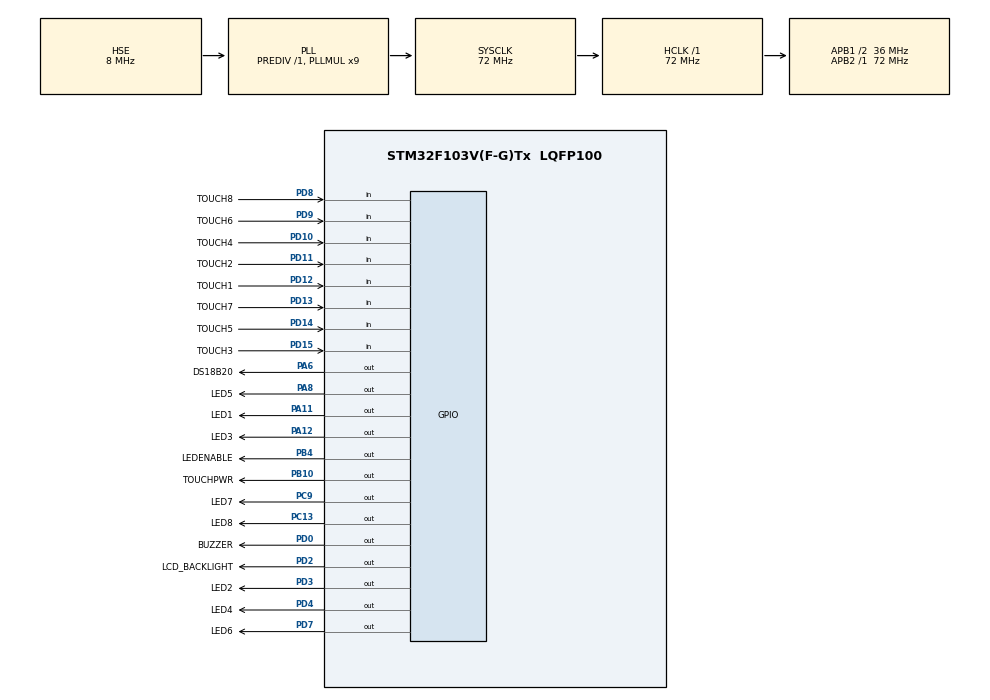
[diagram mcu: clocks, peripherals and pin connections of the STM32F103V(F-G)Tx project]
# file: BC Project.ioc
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Mcu.Family=STM32F1
Mcu.Name=STM32F103V(F-G)Tx
Mcu.Package=LQFP100
NVIC.PriorityGroup=NVIC_PRIORITYGROUP_4
NVIC.TIM2_IRQn=true\:0\:0\:false\:false\:true\:true\:true\:true
OSC_IN.Mode=HSE-External-Oscillator
OSC_IN.Signal=RCC_OSC_IN
OSC_OUT.Mode=HSE-External-Oscillator
OSC_OUT.Signal=RCC_OSC_OUT
PA11.GPIO_Label=LED1
PA11.GPIO_Speed=GPIO_SPEED_FREQ_HIGH
PA11.Signal=GPIO_Output
PA12.GPIO_Label=LED3
PA12.Signal=GPIO_Output
PA13.Mode=Serial_Wire
PA13.Signal=SYS_JTMS-SWDIO
PA14.Mode=Serial_Wire
PA14.Signal=SYS_JTCK-SWCLK
PA6.GPIO_Label=DS18B20
PA6.GPIO_ModeDefaultOutputPP=GPIO_MODE_OUTPUT_PP
PA6.GPIO_PuPd=GPIO_NOPULL
PA6.GPIO_Speed=GPIO_SPEED_FREQ_LOW
PA6.Signal=GPIO_Output
PA8.GPIO_Label=LED5
PA8.Signal=GPIO_Output
PB10.GPIO_Label=TOUCHPWR
PB10.Signal=GPIO_Output
PB4.GPIO_Label=LEDENABLE
PB4.GPIO_Speed=GPIO_SPEED_FREQ_HIGH
PB4.Signal=GPIO_Output
PC13-TAMPER-RTC.GPIO_Label=LED8
PC13-TAMPER-RTC.Signal=GPIO_Output
PC9.GPIO_Label=LED7
PC9.Signal=GPIO_Output
PD0.GPIO_Label=BUZZER
PD0.Signal=GPIO_Output
PD10.GPIO_Label=TOUCH4
PD10.Signal=GPIO_Input
PD11.GPIO_Label=TOUCH2
PD11.Signal=GPIO_Input
PD12.GPIO_Label=TOUCH1
PD12.Signal=GPIO_Input
PD13.GPIO_Label=TOUCH7
PD13.Signal=GPIO_Input
PD14.GPIO_Label=TOUCH5
PD14.Signal=GPIO_Input
PD15.GPIO_Label=TOUCH3
PD15.Signal=GPIO_Input
PD2.GPIO_Label=LCD_BACKLIGHT
PD2.GPIO_Speed=GPIO_SPEED_FREQ_HIGH
PD2.Signal=GPIO_Output
PD3.GPIO_Label=LED2
PD3.Signal=GPIO_Output
PD4.GPIO_Label=LED4
PD4.Signal=GPIO_Output
PD7.GPIO_Label=LED6
PD7.Signal=GPIO_Output
PD8.GPIO_Label=TOUCH8
PD8.Signal=GPIO_Input
PD9.GPIO_Label=TOUCH6
PD9.Signal=GPIO_Input
ProjectManager.HeapSize=0x200
ProjectManager.StackSize=0x400
ProjectManager.TargetToolchain=STM32CubeIDE
RCC.AHBFreq_Value=72000000
RCC.APB1CLKDivider=RCC_HCLK_DIV2
RCC.APB1Freq_Value=36000000
RCC.APB1TimFreq_Value=72000000
RCC.APB2Freq_Value=72000000
RCC.APB2TimFreq_Value=72000000
RCC.HCLKFreq_Value=72000000
RCC.PLLMUL=RCC_PLL_MUL9
RCC.PLLSourceVirtual=RCC_PLLSOURCE_HSE
RCC.SYSCLKFreq_VALUE=72000000
RCC.SYSCLKSource=RCC_SYSCLKSOURCE_PLLCLK
RCC.USBFreq_Value=72000000
TIM2.AutoReloadPreload=TIM_AUTORELOAD_PRELOAD_ENABLE
TIM2.Period=1000-1
TIM2.Prescaler=36000-1
TIM3.Period=65534
TIM3.Prescaler=36-1
VP_TIM2_VS_ClockSourceINT.Mode=Internal
VP_TIM3_VS_ClockSourceINT.Mode=Internal
board=custom

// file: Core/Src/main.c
/* USER CODE BEGIN Header */
/**
 ******************************************************************************
 * @file           : main.c
 * @brief          : Main program body
 ******************************************************************************
 * @attention
 *
 * Copyright (c) 2023 STMicroelectronics.
 * All rights reserved.
 *
 * This software is licensed under terms that can be found in the LICENSE file
 * in the root directory of this software component.
 * If no LICENSE file comes with this software, it is provided AS-IS.
 *
 ******************************************************************************
 */
/* USER CODE END Header */
#include "main.h"

/* USER CODE BEGIN PTD */
typedef enum states {
	IN = 0, OUT, SLEEP
} states;

typedef enum modes {
	COOLING = 0, HEATING, SYSTEM_OFF
} modes;

/* USER CODE END PTD */

/* USER CODE BEGIN PD */
#define INITIAL_SLEEP_SET_POINT   21;
#define INITIAL_IN_SET_POINT      24;
#define GET_BACKGROUND_COLOR(cursor, index)   cursor == index ? Black : White
#define GET_TEXT_COLOR(cursor, index)   cursor == index ? White : Black
#define GET_STATE_STRING(state)    state == IN ? ("IN   ") : (state == OUT ? ("OUT  ") : ("SLEEP"))
/* USER CODE END PD */

/* USER CODE BEGIN PM */
extern const unsigned short MainBG[0x12C00 + 2];
extern const unsigned short arrowup[900];
extern const unsigned short arrowdown[900];
/* USER CODE END PM */

 TIM_HandleTypeDef htim2;
TIM_HandleTypeDef htim3;

/* USER CODE BEGIN PV */
modes mode = COOLING;
char *temp_modes[3] = { "COOLING", "HEATING", "OFF" };
char *week_days[7] = { "S`stqc`x", "Stmc`x", "Mnmc`x", "Ttdrc`x", "Wdcmdrc`x",
		"Tgtqrc`x", "Fqhc`x" };
uint8_t days_temp[7][9];
states days_state[7][9];
uint8_t current_temperature = 18;

uint8_t real_hour = 7;
uint8_t real_weekday = 0;

uint8_t current_day_cursor = 1;
states current_hour_state = 0;
uint8_t current_week_day = 0;
uint8_t state_editor_mode = 0;
uint8_t current_setpoint = 0;

uint8_t is_button8_pressed = 0;
uint8_t is_button7_pressed = 0;
uint8_t is_button5_pressed = 0;
uint8_t is_button4_pressed = 0;
uint8_t is_button3_pressed = 0;
uint8_t is_button2_pressed = 0;
uint8_t is_button1_pressed = 0;

uint8_t in_comfort_temp;
uint8_t sleep_comfort_temp;
uint8_t temp_initialized = 0;
int counter = 0;
uint8_t Temp_byte1, Temp_byte2;
/* USER CODE END PV */

void SystemClock_Config(void);
static void MX_GPIO_Init(void);
static void MX_TIM2_Init(void);
static void MX_TIM3_Init(void);
/* USER CODE BEGIN PFP */
void ThermoAdjucment(void);
void SyncStateAndSetPoints(void);
void ReadKey(void);
void LcdDailySchedule(uint8_t day);
void ShowTemperature(uint8_t temperature);
void LcdPageOne(void);
uint16_t slen(const char*);
void add_txt(char*, char*);
char* my_utoa(unsigned, char*);
char* my_ftoa(float, char*);
uint8_t GetHourIndex(uint8_t hour);
void LcdGiveFeedback(void);
void ShowMode(void);
/* USER CODE END PFP */

/* USER CODE BEGIN 0 */

/*Temp Begin*/
void delayus(uint32_t us) {
//	volatile uint32_t counter = 8 * us;
//	while (counter--)
//		;
	uint32_t counterval = 0;
	__HAL_TIM_SET_COUNTER(&htim3, 0);
	while ((__HAL_TIM_GET_COUNTER(&htim3))<2*us);
}
void LH_signal(uint32_t L_time, uint32_t H_time) {
	HAL_GPIO_WritePin(DS18B20_GPIO_Port, DS18B20_Pin, GPIO_PIN_RESET);
	delayus(L_time); //From pullup_HIGH to GND_LOW:---___
	HAL_GPIO_WritePin(DS18B20_GPIO_Port, DS18B20_Pin, GPIO_PIN_SET);
	delayus(H_time); //From GND_LOW to pullup_HIGH:___---
}

void write_bit(uint8_t bit) {
	if (bit == 0)
		LH_signal(60, 5);
	else
		LH_signal(5, 60);
}

void write_byte(uint8_t data) {
	for (uint8_t i = 0; i < 8; i++)
		write_bit(data >> i & 1);
}

static void A9_as_INPUT(void) {
	GPIO_InitTypeDef GPIO_InitStruct = { 0 };
	HAL_GPIO_WritePin(DS18B20_GPIO_Port, DS18B20_Pin, GPIO_PIN_SET);
	GPIO_InitStruct.Pin = DS18B20_Pin;
	GPIO_InitStruct.Mode = GPIO_MODE_INPUT;
	GPIO_InitStruct.Pull = GPIO_NOPULL;
	HAL_GPIO_Init(GPIOA, &GPIO_InitStruct);
}

static void A9_as_OUTPUT(void) {
	GPIO_InitTypeDef GPIO_InitStruct = { 0 };
	HAL_GPIO_WritePin(DS18B20_GPIO_Port, DS18B20_Pin, GPIO_PIN_SET);
	GPIO_InitStruct.Pin = DS18B20_Pin;
	GPIO_InitStruct.Mode = GPIO_MODE_OUTPUT_OD;
	GPIO_InitStruct.Pull = GPIO_NOPULL;
	GPIO_InitStruct.Speed = GPIO_SPEED_FREQ_HIGH;
	HAL_GPIO_Init(DS18B20_GPIO_Port, &GPIO_InitStruct);
}

uint8_t read_bit(void) {
	uint8_t bit = 0;
	LH_signal(1, 10);
	A9_as_INPUT();
	bit = (HAL_GPIO_ReadPin(DS18B20_GPIO_Port, DS18B20_Pin) ? 1 : 0);
	delayus(40);
	A9_as_OUTPUT();
	return bit;
}

uint8_t read_byte(void) {
	uint8_t data = 0;
	for (uint8_t i = 0; i < 8; i++)
		data += read_bit() << i;
	return data;
}

void A9_wait_for_1(uint32_t time) {
	A9_as_INPUT();
	delayus(time);
	while (HAL_GPIO_ReadPin(DS18B20_GPIO_Port, DS18B20_Pin) == 0)
		;
	A9_as_OUTPUT();
}

void reset(void) {
	LH_signal(500, 500);
}
uint8_t get_presence(void) {
	uint8_t flag = 1;
	LH_signal(500, 0);
	A9_as_INPUT();
	delayus(60); //look for GND_LOW = DS18B20 exists
	flag = (HAL_GPIO_ReadPin(DS18B20_GPIO_Port, DS18B20_Pin) ? 0 : 1); //not ?1:0
	A9_as_OUTPUT();
	delayus(400);
	if (flag)
		return 1;
	else
		return 0;
}

float get_temperature(void) {
	uint8_t pad_data[] = { 0, 0, 0, 0, 0, 0, 0, 0, 0 }; //9 Byte
	reset();
	write_byte(0xCC); //Skip ROM [CCh]
	write_byte(0x44); //Convert Temperature [44h]
	A9_wait_for_1(20);
	reset();
	write_byte(0xCC); //Skip ROM [CCh]
	write_byte(0xBE); //Read Scratchpad [BEh]
	for (uint8_t i = 0; i < 9; i++)
		pad_data[i] = read_byte(); //factor out 1/16 and remember 1/16 != 1/16.0
	uint16_t x = (pad_data[1] << 8) + pad_data[0];
	if ((pad_data[1] >> 7) == 1) {
		x -= 1;
		x = ~x;
		return x / -16.0;
	} else
		return x / 16.0;
}

void send_ID(void) {
	uint8_t id_data[] = { 40, 25, 0, 0, 120, 2, 0, 136 }; //8 Byte ID
	reset();
	write_byte(0x55); //Match ROM [55h]
	for (uint8_t i = 0; i < 8; i++)
		write_byte(id_data[i]); //id_data[0] = 40 = 0x28
}

float get_temperature_with_ID(void) {
	uint8_t pad_data[] = { 0, 0, 0, 0, 0, 0, 0, 0, 0 }; //9 Byte
	reset();
	send_ID();
	write_byte(0x44); //Convert Temperature [44h]
	A9_wait_for_1(20);
	reset();
	send_ID();
	write_byte(0xBE); //Read Scratchpad [BEh]
	for (uint8_t i = 0; i < 9; i++)
		pad_data[i] = read_byte(); //factor out 1/16 and remember 1/16 != 1/16.0
	return ((pad_data[1] << 8) + pad_data[0]) / 16.0; //DS18B20.pdf: val of bit0: 2^(-4) = 1/16
}

uint16_t slen(const char *s) {
	uint16_t i;
	for (i = 0; s[i] != 0; i++)
		;
	return i; //s[0] not 0 then i=1;
}
void add_txt(char *out, char *in) {
	while (*out != 0)
		out++;
	while (*in != 0) {
		*out++ = *in++;
	}
	*out = 0;
}
char* my_utoa(unsigned val, char *str) {
	//static char buffer[10];
	char *cp = str;
	unsigned v;
	char c;
	v = val;
	do {
		v /= 10;
		cp++;
	} while (v != 0);
	*cp-- = 0;
	do {
		c = val % 10;
		val /= 10;
		c += '0';
		*cp-- = c;
	} while (val != 0);
	return cp;
}
char* my_ftoa(float val, char *str) {
	char *cp;
	cp = str;
	int v, v0, rest, rest0;
	char c;
	if (val < 0) { // cp=0
		val = -val; //cp[0 ][1 ][2][3][4][5][6][7][8][9]
		*cp++ = '-'; // [0: -] cp=1
	}
	v0 = (int) val;
	v = v0;
	//rest0=(int)((val-(int)val)*100000000); rest = rest0;
	rest0 = (int) ((val - (int) val) * 10000);
	rest = rest0;
	do {
		v /= 10;
		cp++;
	} while (v != 0);
	do {
		rest /= 10;
		cp++;
	} while (rest != 0);
	cp++; //wegen ','
	*cp-- = 0;
	do {
		c = rest0 % 10;
		rest0 /= 10;
		c += '0';
		*cp-- = c;
	} while (rest0 != 0);
	*cp-- = ',';
	do {
		c = v0 % 10;
		v0 /= 10;
		c += '0';
		*cp-- = c;
	} while (v0 != 0);
	return cp;
}

void HAL_TIM_PeriodElapsedCallback(TIM_HandleTypeDef *htim) {
	if (htim->Instance == TIM2) {
		counter++;
		float f = get_temperature();
		current_temperature = (uint16_t) f;
		if (counter > 10) {
			if (is_button2_pressed == 0 && is_button4_pressed == 0) {
				ShowMode();
				ShowTemperature(current_temperature);
			}
			counter = 0;
		}
	}
}

/* USER CODE END 0 */

int main(void)
{
  /* USER CODE BEGIN 1 */
	in_comfort_temp = INITIAL_IN_SET_POINT
	;
	sleep_comfort_temp = INITIAL_SLEEP_SET_POINT
	;

	for (uint8_t day = 0; day < 7; day++) {
		days_state[day][0] = SLEEP;
		days_state[day][1] = days_state[day][6] = days_state[day][7] =
				days_state[day][8] = IN;
		days_state[day][2] = days_state[day][3] = days_state[day][4] =
				days_state[day][5] = OUT;
	}

	SyncStateAndSetPoints();
  /* USER CODE END 1 */

  /* MCU Configuration--------------------------------------------------------*/

  /* Reset of all peripherals, Initializes the Flash interface and the Systick. */
  HAL_Init();

  /* Configure the system clock */
  SystemClock_Config();

  /* Initialize all configured peripherals */
  MX_GPIO_Init();
  MX_TIM2_Init();
  MX_TIM3_Init();
  /* USER CODE BEGIN 2 */
	if (HAL_TIM_Base_Start(&htim3) == HAL_ERROR) {
		while(1);
	}
	HAL_TIM_Base_Start_IT(&htim2);
  /* USER CODE END 2 */

  /* Infinite loop */
  /* USER CODE BEGIN WHILE */
//  Draw_BMP_Fast(0, 0, MainBG);
	HAL_GPIO_WritePin(LCD_BACKLIGHT_GPIO_Port, LCD_BACKLIGHT_Pin, 1);

	LCD_Initializtion();
	LCD_Clear(Black);
	char str[50];
	sprintf(str, "%d", 65464);
	ThermoAdjucment();
	LcdPageOne();

	while (1) {
    /* USER CODE END WHILE */

    /* USER CODE BEGIN 3 */
		ThermoAdjucment();
		ReadKey();
		if (is_button8_pressed == 1) {
			current_week_day = (current_week_day + 1) % 7;
			LCD_Clear(White);
			is_button8_pressed = 0;
		}

		if (is_button2_pressed == 1) {
			LcdDailySchedule(current_week_day);
			is_button4_pressed = 0;
		}

		if (is_button4_pressed == 1) {
			LcdGiveFeedback();
			is_button2_pressed = 0;
		}

		if (is_button7_pressed == 1) {
			is_button2_pressed = 0;
			is_button7_pressed = 0;
			is_button4_pressed = 0;
			LcdPageOne();
		}
	}
  /* USER CODE END 3 */
}

void SystemClock_Config(void)
{
  RCC_OscInitTypeDef RCC_OscInitStruct = {0};
  RCC_ClkInitTypeDef RCC_ClkInitStruct = {0};

  /** Initializes the RCC Oscillators according to the specified parameters
  * in the RCC_OscInitTypeDef structure.
  */
  RCC_OscInitStruct.OscillatorType = RCC_OSCILLATORTYPE_HSE;
  RCC_OscInitStruct.HSEState = RCC_HSE_ON;
  RCC_OscInitStruct.HSEPredivValue = RCC_HSE_PREDIV_DIV1;
  RCC_OscInitStruct.HSIState = RCC_HSI_ON;
  RCC_OscInitStruct.PLL.PLLState = RCC_PLL_ON;
  RCC_OscInitStruct.PLL.PLLSource = RCC_PLLSOURCE_HSE;
  RCC_OscInitStruct.PLL.PLLMUL = RCC_PLL_MUL9;
  if (HAL_RCC_OscConfig(&RCC_OscInitStruct) != HAL_OK)
  {
    Error_Handler();
  }

  /** Initializes the CPU, AHB and APB buses clocks
  */
  RCC_ClkInitStruct.ClockType = RCC_CLOCKTYPE_HCLK|RCC_CLOCKTYPE_SYSCLK
                              |RCC_CLOCKTYPE_PCLK1|RCC_CLOCKTYPE_PCLK2;
  RCC_ClkInitStruct.SYSCLKSource = RCC_SYSCLKSOURCE_PLLCLK;
  RCC_ClkInitStruct.AHBCLKDivider = RCC_SYSCLK_DIV1;
  RCC_ClkInitStruct.APB1CLKDivider = RCC_HCLK_DIV2;
  RCC_ClkInitStruct.APB2CLKDivider = RCC_HCLK_DIV1;

  if (HAL_RCC_ClockConfig(&RCC_ClkInitStruct, FLASH_LATENCY_2) != HAL_OK)
  {
    Error_Handler();
  }
}

static void MX_TIM2_Init(void)
{

  TIM_ClockConfigTypeDef sClockSourceConfig = {0};
  TIM_MasterConfigTypeDef sMasterConfig = {0};

  htim2.Instance = TIM2;
  htim2.Init.Prescaler = 36000-1;
  htim2.Init.CounterMode = TIM_COUNTERMODE_UP;
  htim2.Init.Period = 1000-1;
  htim2.Init.ClockDivision = TIM_CLOCKDIVISION_DIV1;
  htim2.Init.AutoReloadPreload = TIM_AUTORELOAD_PRELOAD_ENABLE;
  if (HAL_TIM_Base_Init(&htim2) != HAL_OK)
  {
    Error_Handler();
  }
  sClockSourceConfig.ClockSource = TIM_CLOCKSOURCE_INTERNAL;
  if (HAL_TIM_ConfigClockSource(&htim2, &sClockSourceConfig) != HAL_OK)
  {
    Error_Handler();
  }
  sMasterConfig.MasterOutputTrigger = TIM_TRGO_RESET;
  sMasterConfig.MasterSlaveMode = TIM_MASTERSLAVEMODE_DISABLE;
  if (HAL_TIMEx_MasterConfigSynchronization(&htim2, &sMasterConfig) != HAL_OK)
  {
    Error_Handler();
  }

}

static void MX_TIM3_Init(void)
{

  TIM_ClockConfigTypeDef sClockSourceConfig = {0};
  TIM_MasterConfigTypeDef sMasterConfig = {0};

  htim3.Instance = TIM3;
  htim3.Init.Prescaler = 36-1;
  htim3.Init.CounterMode = TIM_COUNTERMODE_UP;
  htim3.Init.Period = 65534;
  htim3.Init.ClockDivision = TIM_CLOCKDIVISION_DIV1;
  htim3.Init.AutoReloadPreload = TIM_AUTORELOAD_PRELOAD_DISABLE;
  if (HAL_TIM_Base_Init(&htim3) != HAL_OK)
  {
    Error_Handler();
  }
  sClockSourceConfig.ClockSource = TIM_CLOCKSOURCE_INTERNAL;
  if (HAL_TIM_ConfigClockSource(&htim3, &sClockSourceConfig) != HAL_OK)
  {
    Error_Handler();
  }
  sMasterConfig.MasterOutputTrigger = TIM_TRGO_RESET;
  sMasterConfig.MasterSlaveMode = TIM_MASTERSLAVEMODE_DISABLE;
  if (HAL_TIMEx_MasterConfigSynchronization(&htim3, &sMasterConfig) != HAL_OK)
  {
    Error_Handler();
  }

}

static void MX_GPIO_Init(void)
{
  GPIO_InitTypeDef GPIO_InitStruct = {0};

  /* GPIO Ports Clock Enable */
  __HAL_RCC_GPIOC_CLK_ENABLE();
  __HAL_RCC_GPIOA_CLK_ENABLE();
  __HAL_RCC_GPIOB_CLK_ENABLE();
  __HAL_RCC_GPIOD_CLK_ENABLE();

  /*Configure GPIO pin Output Level */
  HAL_GPIO_WritePin(GPIOC, LED8_Pin|LED7_Pin, GPIO_PIN_RESET);

  /*Configure GPIO pin Output Level */
  HAL_GPIO_WritePin(GPIOA, DS18B20_Pin|LED5_Pin|LED1_Pin|LED3_Pin, GPIO_PIN_RESET);

  /*Configure GPIO pin Output Level */
  HAL_GPIO_WritePin(GPIOB, TOUCHPWR_Pin|LEDENABLE_Pin, GPIO_PIN_RESET);

  /*Configure GPIO pin Output Level */
  HAL_GPIO_WritePin(GPIOD, BUZZER_Pin|LCD_BACKLIGHT_Pin|LED2_Pin|LED4_Pin
                          |LED6_Pin, GPIO_PIN_RESET);

  /*Configure GPIO pins : LED8_Pin LED7_Pin */
  GPIO_InitStruct.Pin = LED8_Pin|LED7_Pin;
  GPIO_InitStruct.Mode = GPIO_MODE_OUTPUT_PP;
  GPIO_InitStruct.Pull = GPIO_NOPULL;
  GPIO_InitStruct.Speed = GPIO_SPEED_FREQ_LOW;
  HAL_GPIO_Init(GPIOC, &GPIO_InitStruct);

  /*Configure GPIO pins : DS18B20_Pin LED5_Pin LED3_Pin */
  GPIO_InitStruct.Pin = DS18B20_Pin|LED5_Pin|LED3_Pin;
  GPIO_InitStruct.Mode = GPIO_MODE_OUTPUT_PP;
  GPIO_InitStruct.Pull = GPIO_NOPULL;
  GPIO_InitStruct.Speed = GPIO_SPEED_FREQ_LOW;
  HAL_GPIO_Init(GPIOA, &GPIO_InitStruct);

  /*Configure GPIO pin : TOUCHPWR_Pin */
  GPIO_InitStruct.Pin = TOUCHPWR_Pin;
  GPIO_InitStruct.Mode = GPIO_MODE_OUTPUT_PP;
  GPIO_InitStruct.Pull = GPIO_NOPULL;
  GPIO_InitStruct.Speed = GPIO_SPEED_FREQ_LOW;
  HAL_GPIO_Init(TOUCHPWR_GPIO_Port, &GPIO_InitStruct);

  /*Configure GPIO pins : TOUCH8_Pin TOUCH6_Pin TOUCH4_Pin TOUCH2_Pin
                           TOUCH1_Pin TOUCH7_Pin TOUCH5_Pin TOUCH3_Pin */
  GPIO_InitStruct.Pin = TOUCH8_Pin|TOUCH6_Pin|TOUCH4_Pin|TOUCH2_Pin
                          |TOUCH1_Pin|TOUCH7_Pin|TOUCH5_Pin|TOUCH3_Pin;
  GPIO_InitStruct.Mode = GPIO_MODE_INPUT;
  GPIO_InitStruct.Pull = GPIO_NOPULL;
  HAL_GPIO_Init(GPIOD, &GPIO_InitStruct);

  /*Configure GPIO pin : LED1_Pin */
  GPIO_InitStruct.Pin = LED1_Pin;
  GPIO_InitStruct.Mode = GPIO_MODE_OUTPUT_PP;
  GPIO_InitStruct.Pull = GPIO_NOPULL;
  GPIO_InitStruct.Speed = GPIO_SPEED_FREQ_HIGH;
  HAL_GPIO_Init(LED1_GPIO_Port, &GPIO_InitStruct);

  /*Configure GPIO pins : BUZZER_Pin LED2_Pin LED4_Pin LED6_Pin */
  GPIO_InitStruct.Pin = BUZZER_Pin|LED2_Pin|LED4_Pin|LED6_Pin;
  GPIO_InitStruct.Mode = GPIO_MODE_OUTPUT_PP;
  GPIO_InitStruct.Pull = GPIO_NOPULL;
  GPIO_InitStruct.Speed = GPIO_SPEED_FREQ_LOW;
  HAL_GPIO_Init(GPIOD, &GPIO_InitStruct);

  /*Configure GPIO pin : LCD_BACKLIGHT_Pin */
  GPIO_InitStruct.Pin = LCD_BACKLIGHT_Pin;
  GPIO_InitStruct.Mode = GPIO_MODE_OUTPUT_PP;
  GPIO_InitStruct.Pull = GPIO_NOPULL;
  GPIO_InitStruct.Speed = GPIO_SPEED_FREQ_HIGH;
  HAL_GPIO_Init(LCD_BACKLIGHT_GPIO_Port, &GPIO_InitStruct);

  /*Configure GPIO pin : LEDENABLE_Pin */
  GPIO_InitStruct.Pin = LEDENABLE_Pin;
  GPIO_InitStruct.Mode = GPIO_MODE_OUTPUT_PP;
  GPIO_InitStruct.Pull = GPIO_NOPULL;
  GPIO_InitStruct.Speed = GPIO_SPEED_FREQ_HIGH;
  HAL_GPIO_Init(LEDENABLE_GPIO_Port, &GPIO_InitStruct);

}

/* USER CODE BEGIN 4 */

void SetTemperatureBasedOnInput(uint8_t ideal_temperature) {
	if (current_temperature > ideal_temperature) {
		mode = COOLING;
	} else if (current_temperature < ideal_temperature) {
		mode = HEATING;
	}
}

uint8_t GetHourIndex(uint8_t hour) {
	uint8_t hour_index = 0;
	if (hour >= 6 && hour < 8)
		hour_index = 1;
	else if (hour >= 8 && hour < 10)
		hour_index = 2;
	else if (hour >= 10 && hour < 12)
		hour_index = 3;
	else if (hour >= 12 && hour < 14)
		hour_index = 4;
	else if (hour >= 14 && hour < 16)
		hour_index = 5;
	else if (hour >= 16 && hour < 18)
		hour_index = 6;
	else if (hour >= 18 && hour < 20)
		hour_index = 7;
	else if (hour >= 20 && hour < 22)
		hour_index = 8;
	else
		hour_index = 0;

	return hour_index;
}

void ThermoAdjucment(void) {
	uint8_t hour_index = GetHourIndex(real_hour);
	if (days_state[real_weekday][hour_index] == OUT) {
		mode = SYSTEM_OFF;
	} else if (days_state[real_weekday][hour_index] == IN) {
		SetTemperatureBasedOnInput(in_comfort_temp);
	} else {
		SetTemperatureBasedOnInput(sleep_comfort_temp);
	}
}

void SyncStateAndSetPoints(void) {
	for (uint8_t day = 0; day < 7; day++) {
		for (uint8_t hour = 0; hour < 9; hour++) {
			switch (days_state[day][hour]) {
			case IN:
				days_temp[day][hour] = in_comfort_temp;
				break;
			case SLEEP:
				days_temp[day][hour] = sleep_comfort_temp;
				break;
			case OUT:
				days_temp[day][hour] = 0;
				break;
			}
		}
	}
}

void ReadKey(void) {
	/********Read Key1********/
	if (HAL_GPIO_ReadPin(TOUCH1_GPIO_Port, TOUCH1_Pin) == 0) {
		HAL_Delay(50);
		if (HAL_GPIO_ReadPin(TOUCH1_GPIO_Port, TOUCH1_Pin) == 0) {
			is_button1_pressed = 1;
		}
	}
	/********Read Key2********/
	if (HAL_GPIO_ReadPin(TOUCH2_GPIO_Port, TOUCH2_Pin) == 0) {
		HAL_Delay(50);
		if (HAL_GPIO_ReadPin(TOUCH2_GPIO_Port, TOUCH2_Pin) == 0) {
			LCD_Clear(White);
			is_button2_pressed = 1;
		}
	}
	/********Read Key3********/
	if (HAL_GPIO_ReadPin(TOUCH3_GPIO_Port, TOUCH3_Pin) == 0) {
		HAL_Delay(50);
		if (HAL_GPIO_ReadPin(TOUCH3_GPIO_Port, TOUCH3_Pin) == 0) {
			is_button3_pressed = 1;
		}
	}
	/********Read Key4********/
	if (HAL_GPIO_ReadPin(TOUCH4_GPIO_Port, TOUCH4_Pin) == 0) {
		HAL_Delay(50);
		if (HAL_GPIO_ReadPin(TOUCH4_GPIO_Port, TOUCH4_Pin) == 0) {
			LCD_Clear(White);
			is_button4_pressed = 1;
			current_setpoint = days_temp[real_weekday][GetHourIndex(real_hour)];
		}
	}
	/********Read Key5********/
	if (HAL_GPIO_ReadPin(TOUCH5_GPIO_Port, TOUCH5_Pin) == 0) {
		HAL_Delay(50);
		if (HAL_GPIO_ReadPin(TOUCH5_GPIO_Port, TOUCH5_Pin) == 0) {
			is_button5_pressed = 1;
		}
	}
	/********Read Key6********/
	if (HAL_GPIO_ReadPin(TOUCH6_GPIO_Port, TOUCH6_Pin) == 0) {
		HAL_Delay(50);
		if (HAL_GPIO_ReadPin(TOUCH6_GPIO_Port, TOUCH6_Pin) == 0) {
			LCD_Clear(Green);
			GUI_TextArial_30pt(86, 20, "EYDGC", White, NO_BG);
		}
	}
	/********Read Key7********/
	if (HAL_GPIO_ReadPin(TOUCH7_GPIO_Port, TOUCH7_Pin) == 0) {
		HAL_Delay(50);
		if (HAL_GPIO_ReadPin(TOUCH7_GPIO_Port, TOUCH7_Pin) == 0) {
			is_button7_pressed = 1;
		}
	}
	/********Read Key8********/
	if (HAL_GPIO_ReadPin(TOUCH8_GPIO_Port, TOUCH8_Pin) == 0) {
		HAL_Delay(50);
		if (HAL_GPIO_ReadPin(TOUCH8_GPIO_Port, TOUCH8_Pin) == 0) {
			is_button8_pressed = 1;
		}
	}
}

void ShowTemperature(uint8_t temperature) {
	char str[50];
	sprintf(str, "%d", temperature);
	Draw_BMP_Slice(86, 17, 42, 34, MainBG);
	GUI_TextArial_30pt(86, 20, str, White, NO_BG);
	PutCharArial_22pt(128, 20, '~' + 1, White, NO_BG); //'~'+1 -> degree
	PutCharArial_30pt(138, 20, 'c', White, NO_BG);
}

void ShowDateAndTime(uint16_t year, uint8_t month, uint8_t day, uint8_t hour,
		uint8_t minute) {
	char str[70];
	sprintf(str, "%d/%d/%d  %d:%d", year, month, day, hour, minute);
	GUI_TextArial_18pt(35, 250, str, White, NO_BG);
}

void ShowMode(void) {
//	Draw_BMP_Slice(70, 85, 30, 103, MainBG);
	GUI_TextArial_18pt(70, 90, temp_modes[(uint8_t) mode], White, NO_BG);
}

void LcdPageOne(void) {
	LCD_Clear(Black);
	Draw_BMP_Fast(0, 0, MainBG);
	ShowTemperature(current_temperature);
	GUI_TextArial_18pt(70, 90, temp_modes[(uint8_t) mode], White, NO_BG);
	ShowDateAndTime(2023, 10, 23, 13, 7);
}

void table_item(uint8_t day, uint8_t clk, uint16_t y, uint16_t l_y,
		uint8_t is_am, uint8_t has_line, uint8_t index) {
	char str[20];
	if (is_am == 1)
		sprintf(str, "%dAM", clk);
	else
		sprintf(str, "%dPM", clk);
	GUI_TextArial_18pt(10, y, str, GET_TEXT_COLOR(current_day_cursor, index),
			GET_BACKGROUND_COLOR(current_day_cursor, index));
	sprintf(str, "%d", days_temp[day][index]);
	GUI_TextArial_18pt(100, y, str, Black, NO_BG);
	if (state_editor_mode == 1 && current_day_cursor == index) {
		GUI_TextArial_18pt(170, y, GET_STATE_STRING(current_hour_state),
				GET_TEXT_COLOR(current_day_cursor, index),
				GET_BACKGROUND_COLOR(current_day_cursor, index));
	} else {
		GUI_TextArial_18pt(170, y, GET_STATE_STRING(days_state[day][index]),
		Black,
		White);
	}
	if (has_line == 1)
		LCD_DrawLine(0, l_y, 300, l_y, Black);
}

void LcdDailySchedule(uint8_t day) {
	GUI_TextArial_18pt(50, 5, week_days[day], Black, NO_BG);
	char str[20];
	if (is_button1_pressed == 1) {
		if (state_editor_mode == 0)
			current_day_cursor = (current_day_cursor - 1) % 9;
		else
			current_hour_state = (current_hour_state - 1) % 3;
		is_button1_pressed = 0;
	}

	if (is_button3_pressed == 1) {
		if (state_editor_mode == 0)
			current_day_cursor = (current_day_cursor + 1) % 9;
		else
			current_hour_state = (current_hour_state + 1) % 3;
		is_button3_pressed = 0;
	}

	if (is_button5_pressed == 1) {
		if (state_editor_mode == 0) {
			current_hour_state = days_state[day][current_day_cursor];
			state_editor_mode = 1;
		} else {
			days_state[day][current_day_cursor] = current_hour_state;
			SyncStateAndSetPoints();
			state_editor_mode = 0;
		}
		is_button5_pressed = 0;
	}
	table_item(day, 6, 30, 55, 1, 1, 1);

	table_item(day, 8, 60, 85, 1, 1, 2);

	table_item(day, 10, 90, 115, 1, 1, 3);

	table_item(day, 12, 120, 145, 0, 1, 4);

	table_item(day, 2, 150, 175, 0, 1, 5);

	table_item(day, 4, 180, 205, 0, 1, 6);

	table_item(day, 6, 210, 235, 0, 1, 7);

	table_item(day, 8, 240, 265, 0, 1, 8);

	table_item(day, 10, 270, 295, 0, 0, 0);
}

void LcdGiveFeedback(void) {
	if (is_button1_pressed == 1) {
		current_setpoint++;
		is_button1_pressed = 0;
	}

	if (is_button3_pressed == 1) {
		current_setpoint--;
		is_button3_pressed = 0;
	}

	if (is_button5_pressed == 1) {
		states current_state = days_state[real_weekday][GetHourIndex(real_hour)];
		if (current_state == IN) {
			in_comfort_temp = current_setpoint;
		} else if (current_state == SLEEP) {
			sleep_comfort_temp = current_setpoint;
		}
		SyncStateAndSetPoints();
		is_button5_pressed = 0;
	}
	char str[20];
	sprintf(str, "%d", current_setpoint);
	GUI_TextArial_30pt(100, 150, str, Black, White);
	Draw_BMP_Fast(105, 100, arrowup);
	Draw_BMP_Fast(105, 200, arrowdown);
}

/* USER CODE END 4 */

void Error_Handler(void)
{
	__disable_irq();
	while (1) {
	}
}
